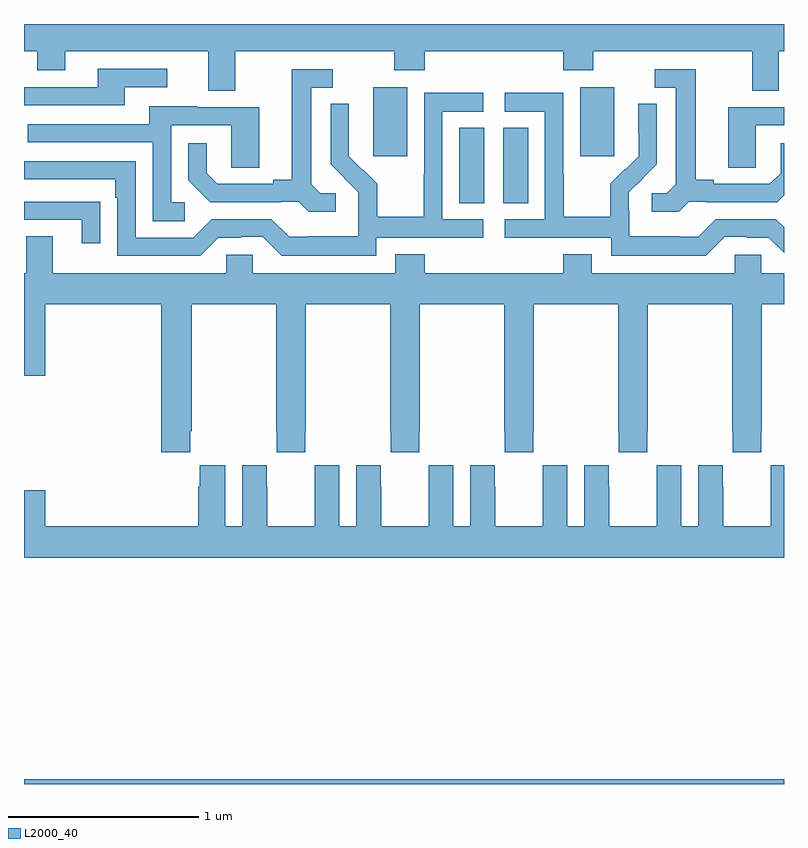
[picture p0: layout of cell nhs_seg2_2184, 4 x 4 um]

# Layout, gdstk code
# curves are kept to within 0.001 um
import gdstk
lib = gdstk.Library(unit=1e-6, precision=1e-09)
def R(c, l, rs):  # rectangles x0, y0, x1, y1
    for r in rs: c.add(gdstk.rectangle(r[:2], r[2:], *l))
def P(c, l, *ps):  # polygons
    for p in ps: c.add(gdstk.Polygon(p, *l))
L2000_40 = (2000, 40)

nhs_seg2_2184 = lib.new_cell('nhs_seg2_2184')
R(nhs_seg2_2184, L2000_40, [(225,623.8,229,623.824), (227.291,626.857,227.422,627.254), (227.522,626.857,227.653,627.254), (226.838,627.105,227.017,627.466), (227.927,627.105,228.106,627.466)])
P(nhs_seg2_2184, L2000_40, [(226.111,627.656),(226.948,627.656),(226.948,627.557),(227.108,627.557),(227.108,627.656),(227.837,627.656),(227.837,627.557),(227.997,627.557),(227.997,627.656),(228.833,627.656),(228.833,627.448),(228.973,627.448),(228.973,627.656),(229,627.656),(229,627.8),(225,627.8),(225,627.656),(225.07,627.656),(225.07,627.557),(225.217,627.557),(225.217,627.656),(225.971,627.656),(225.971,627.448),(226.111,627.448)],
  [(225.529,627.468),(225.754,627.468),(225.754,627.564),(225.389,627.564),(225.389,627.468),(225,627.468),(225,627.372),(225.529,627.372)],
  [(226.642,626.91),(226.56,626.91),(226.513,626.957),(226.513,627.465),(226.624,627.465),(226.624,627.561),(226.409,627.561),(226.409,626.981),(226.313,626.981),(226.313,626.958),(226.018,626.958),(225.961,627.015),(225.961,627.172),(225.864,627.172),(225.864,626.978),(225.98,626.862),(226.352,626.862),(226.352,626.865),(226.446,626.865),(226.498,626.813),(226.642,626.813)],
  [(228.498,626.865),(228.592,626.865),(228.592,626.862),(228.964,626.862),(229,626.898),(229,627.172),(228.983,627.172),(228.983,627.015),(228.926,626.958),(228.631,626.958),(228.631,626.981),(228.535,626.981),(228.535,627.561),(228.321,627.561),(228.321,627.465),(228.431,627.465),(228.431,626.957),(228.384,626.91),(228.303,626.91),(228.303,626.813),(228.446,626.813)],
  [(228.687,626.679),(228.803,626.679),(228.803,626.676),(228.921,626.676),(229,626.597),(229,626.729),(228.957,626.772),(228.642,626.772),(228.549,626.679),(228.449,626.679),(228.449,626.683),(228.186,626.683),(228.186,626.817),(228.184,626.817),(228.184,626.914),(228.33,627.062),(228.33,627.38),(228.234,627.38),(228.234,627.226),(228.236,627.226),(228.236,627.104),(228.165,627.033),(228.162,627.036),(228.085,626.959),(228.085,626.785),(227.841,626.785),(227.841,627.008),(227.838,627.008),(227.838,627.438),(227.529,627.438),(227.529,627.339),(227.742,627.339),(227.742,626.772),(227.529,626.772),(227.529,626.676),(228.09,626.676),(228.09,626.579),(228.587,626.579)],
  [(226.854,626.676),(227.416,626.676),(227.416,626.772),(227.202,626.772),(227.202,627.339),(227.416,627.339),(227.416,627.438),(227.106,627.438),(227.106,627.008),(227.104,627.008),(227.104,626.785),(226.859,626.785),(226.859,626.959),(226.782,627.036),(226.779,627.033),(226.709,627.104),(226.71,627.38),(226.614,627.38),(226.614,627.062),(226.76,626.914),(226.76,626.817),(226.758,626.817),(226.758,626.683),(226.495,626.683),(226.495,626.679),(226.395,626.679),(226.302,626.772),(225.987,626.772),(225.891,626.676),(225.588,626.676),(225.588,627.078),(225,627.078),(225,626.982),(225.479,626.982),(225.479,626.885),(225.492,626.885),(225.492,626.58),(225.927,626.58),(226.023,626.676),(226.142,626.676),(226.142,626.679),(226.257,626.679),(226.357,626.579),(226.854,626.579)],
  [(225.847,626.862),(225.774,626.862),(225.774,627.267),(226.092,627.267),(226.092,627.043),(226.237,627.043),(226.237,627.363),(225.913,627.363),(225.913,627.367),(225.659,627.367),(225.659,627.273),(225.019,627.273),(225.019,627.177),(225.678,627.177),(225.678,626.761),(225.847,626.761)],
  [(228.852,627.267),(229,627.267),(229,627.363),(228.707,627.363),(228.707,627.043),(228.852,627.043)],
  [(225.401,626.864),(225.299,626.864),(225.299,626.865),(225,626.865),(225,626.769),(225.305,626.769),(225.305,626.646),(225.401,626.646)],
  [(228.741,626.586),(228.741,626.488),(227.989,626.488),(227.989,626.587),(227.837,626.587),(227.837,626.488),(227.108,626.488),(227.108,626.587),(226.955,626.587),(226.955,626.488),(226.203,626.488),(226.203,626.586),(226.065,626.586),(226.065,626.488),(225.151,626.488),(225.151,626.683),(225.011,626.683),(225.011,626.488),(225,626.488),(225,625.95),(225.112,625.95),(225.112,626.324),(225.722,626.324),(225.722,625.545),(225.875,625.545),(225.875,625.657),(225.882,625.657),(225.882,626.324),(226.327,626.324),(226.327,625.657),(226.329,625.657),(226.329,625.545),(226.479,625.545),(226.479,625.657),(226.482,625.657),(226.482,626.324),(226.927,626.324),(226.927,625.657),(226.929,625.657),(226.929,625.545),(227.079,625.545),(227.079,625.657),(227.082,625.657),(227.082,626.324),(227.527,626.324),(227.527,625.657),(227.529,625.657),(227.529,625.545),(227.679,625.545),(227.679,625.657),(227.682,625.657),(227.682,626.324),(228.127,626.324),(228.127,625.657),(228.129,625.657),(228.129,625.545),(228.279,625.545),(228.279,625.657),(228.282,625.657),(228.282,626.324),(228.727,626.324),(228.727,625.657),(228.729,625.657),(228.729,625.545),(228.879,625.545),(228.879,625.657),(228.882,625.657),(228.882,626.324),(229,626.324),(229,626.488),(228.879,626.488),(228.879,626.586)],
  [(229,625.477),(228.93,625.477),(228.93,625.364),(228.929,625.364),(228.929,625.156),(228.679,625.156),(228.679,625.364),(228.678,625.364),(228.678,625.477),(228.548,625.477),(228.548,625.156),(228.46,625.156),(228.46,625.477),(228.33,625.477),(228.33,625.364),(228.329,625.364),(228.329,625.156),(228.079,625.156),(228.079,625.364),(228.078,625.364),(228.078,625.477),(227.948,625.477),(227.948,625.156),(227.86,625.156),(227.86,625.477),(227.73,625.477),(227.73,625.364),(227.729,625.364),(227.729,625.156),(227.479,625.156),(227.479,625.364),(227.478,625.364),(227.478,625.477),(227.348,625.477),(227.348,625.156),(227.26,625.156),(227.26,625.477),(227.13,625.477),(227.13,625.364),(227.129,625.364),(227.129,625.156),(226.879,625.156),(226.879,625.364),(226.878,625.364),(226.878,625.477),(226.748,625.477),(226.748,625.156),(226.66,625.156),(226.66,625.477),(226.53,625.477),(226.53,625.364),(226.529,625.364),(226.529,625.156),(226.279,625.156),(226.279,625.364),(226.278,625.364),(226.278,625.477),(226.148,625.477),(226.148,625.156),(226.06,625.156),(226.06,625.477),(225.926,625.477),(225.926,625.364),(225.917,625.364),(225.917,625.156),(225.112,625.156),(225.112,625.345),(225,625.345),(225,624.992),(229,624.992)])

lib.write_gds('nhs_seg2_2184.gds')
